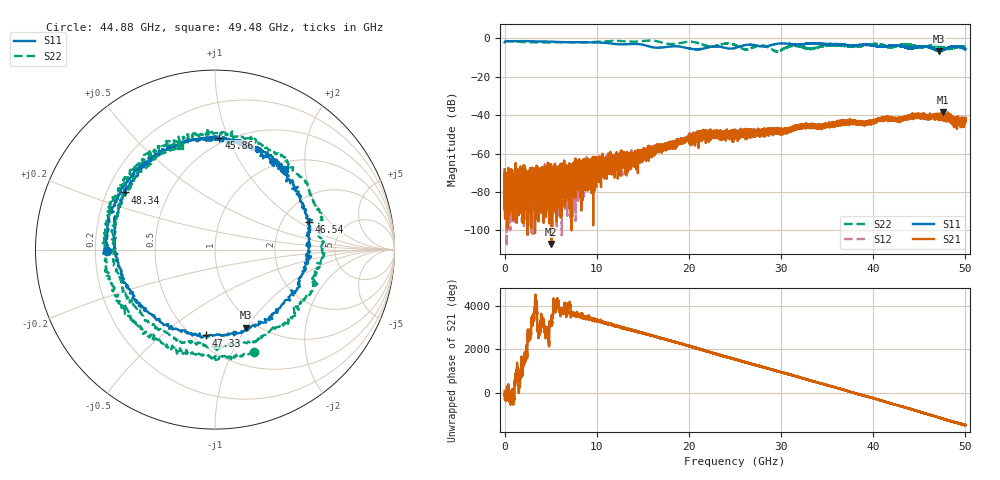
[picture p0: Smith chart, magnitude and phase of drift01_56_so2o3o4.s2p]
!Created with skrf (http://scikit-rf.org).
# Hz S RI R 50.0
!freq ReS11 ImS11 ReS21 ImS21 ReS12 ImS12 ReS22 ImS22
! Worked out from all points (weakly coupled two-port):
!   10001 points, 300 kHz to 50 GHz, reference 50 ohm
!   highest |S21| = -38.45 dB at 47.58 GHz (marker M1); lowest = -107.1 dB at 5.07 GHz (marker M2)
!   lowest |S11| = -6.6 dB at 47.15 GHz (marker M3), VSWR 2.76, Z = 44.6 - j49.8 ohm
!   |S11| at or under -10 dB: nowhere
!   |S22| runs from -6.8 to -1.0 dB; largest |S21 - S12| = 0.0043
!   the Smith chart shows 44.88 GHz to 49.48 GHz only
!   S11 on the Smith chart (normalised r, x): 44.88 GHz: 0.25, -0.01; 45.86 GHz: 0.46, +0.93; 46.54 GHz: 2.80, +1.22; 47.33 GHz: 0.58, -0.72; 48.34 GHz: 0.27, +0.27; 49.48 GHz: 1.13, +1.56
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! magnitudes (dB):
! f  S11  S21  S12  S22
! 300 kHz  -2.1  -68.1  -70.4  -1.3
! 260.3 MHz  -1.4  -80.7  -85.8  -1.4
! 5.07 GHz  -1.7  -107.1  -72.4  -2.1
! 8.335 GHz  -1.9  -68.0  -75.4  -2.1
! 16.67 GHz  -4.8  -55.6  -57.9  -1.6
! 21.35 GHz  -5.5  -50.2  -50.4  -3.0
! 25 GHz  -5.0  -49.0  -49.5  -3.4
! 26.19 GHz  -3.4  -48.4  -49.5  -5.7
! 28.09 GHz  -4.2  -49.6  -49.0  -3.8
! 29.52 GHz  -2.8  -47.3  -47.9  -6.7
! 31.29 GHz  -3.1  -47.9  -47.7  -4.0
! 33.34 GHz  -2.6  -46.1  -45.4  -5.4
! 41.67 GHz  -3.9  -40.9  -41.6  -4.5
! 44.88 GHz  -4.4  -40.0  -40.2  -4.3
! 45.86 GHz  -4.1  -41.1  -41.3  -4.1
! 46.54 GHz  -5.3  -40.5  -40.6  -3.8
! 47.15 GHz  -6.6  -41.0  -40.0  -4.0
! 47.33 GHz  -6.4  -40.6  -40.7  -4.3
! 47.58 GHz  -5.9  -38.5  -40.6  -4.8
! 48.34 GHz  -4.5  -41.5  -41.1  -5.4
! 49.48 GHz  -4.5  -42.4  -43.9  -4.3
! 50 GHz  -5.5  -41.3  -43.0  -4.3
